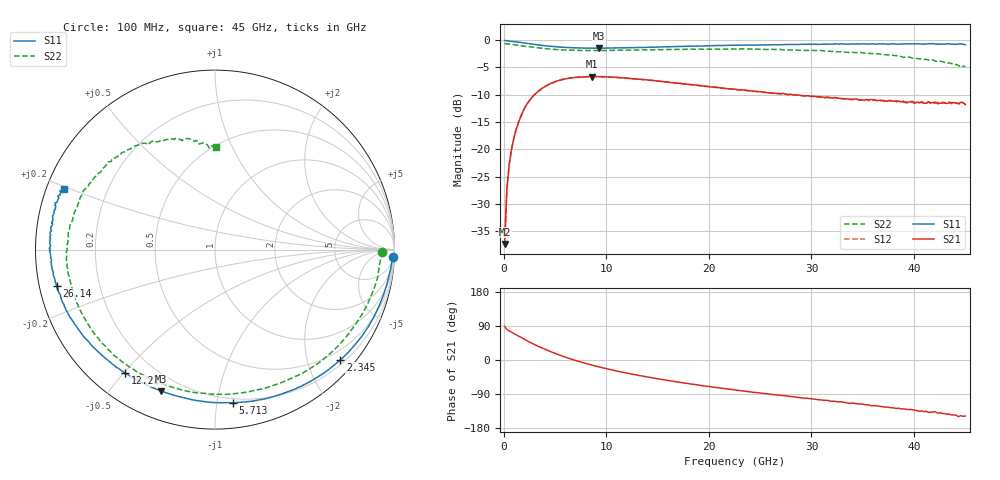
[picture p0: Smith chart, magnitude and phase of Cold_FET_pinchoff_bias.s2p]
!Date: 10/28/2005, 12:30 PM
!Vgs = -8.000000E+0
!Vds = 0.000000E+0
!Ig = -7.328100E-5
!Id = 1.526200E-5
# HZ S RI R 50
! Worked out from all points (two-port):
!   201 points, 100 MHz to 45 GHz, reference 50 ohm
!   highest |S21| = -6.67 dB at 8.631 GHz (marker M1); lowest = -37.3 dB at 100 MHz (marker M2)
!   |S21| within 3 dB of the highest: 3.199 GHz to 25.91 GHz (22.71 GHz wide, 156 % of centre)
!   lowest |S11| = -1.5 dB at 9.305 GHz (marker M3), VSWR 11.69, Z = 6.29 - j34.1 ohm
!   |S11| at or under -10 dB: nowhere
!   |S22| runs from -5.0 to -0.6 dB; largest |S21 - S12| = 0.028
!   S11 on the Smith chart (normalised r, x): 100 MHz: 11, -49; 2.345 GHz: 0.28, -2.62; 5.713 GHz: 0.17, -1.11; 12.22 GHz: 0.10, -0.50; 26.14 GHz: 0.05, -0.11; 45 GHz: 0.05, +0.19
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1e8  0.9907 -0.0385  0.000301 0.0137  0.00102 0.013  0.9317 -0.0113
3.245e8  0.9774 -0.1117  0.00748 0.0432  0.0077 0.0437  0.915 -0.0925
5.49e8  0.961 -0.1813  0.0163 0.0706  0.0168 0.0714  0.9073 -0.1529
7.735e8  0.9404 -0.2485  0.0287 0.0959  0.0289 0.096  0.8885 -0.2114
9.98e8  0.916 -0.3107  0.0435 0.1185  0.0438 0.1187  0.8674 -0.2633
1.447e9  0.8549 -0.4288  0.0796 0.1568  0.0788 0.1566  0.8168 -0.3646
2.345e9  0.6988 -0.6149  0.1707 0.203  0.1709 0.2032  0.6951 -0.5273
3.9165e9  0.3988 -0.7945  0.3216 0.1821  0.3215 0.1824  0.4453 -0.7081
5.7125e9  0.1008 -0.8537  0.4278 0.0785  0.4281 0.0793  0.1795 -0.7935
7.733e9  -0.1505 -0.8311  0.4569 -0.0556  0.4575 -0.0556  -0.0763 -0.7993
8.631e9  -0.2408 -0.8079  0.4509 -0.1095  0.45 -0.1092  -0.1767 -0.7845
9.3045e9  -0.2993 -0.7874  0.4391 -0.145  0.4392 -0.1449  -0.2427 -0.7652
1.2223e10  -0.5008 -0.6869  0.3624 -0.2612  0.3618 -0.2605  -0.4803 -0.6519
1.51415e10  -0.6388 -0.5807  0.2704 -0.3225  0.2691 -0.3226  -0.6427 -0.5048
1.8509e10  -0.7498 -0.4595  0.1702 -0.3513  0.1692 -0.3486  -0.76 -0.3209
2.255e10  -0.8386 -0.3178  0.0685 -0.3488  0.068 -0.3456  -0.8223 -0.1033
2.6142e10  -0.881 -0.2012  -0.00333 -0.3259  -0.00121 -0.3271  -0.8176 0.0923
3.0183e10  -0.9122 -0.0761  -0.0686 -0.2981  -0.0692 -0.297  -0.7489 0.2946
3.39995e10  -0.9205 0.0411  -0.1151 -0.2618  -0.1176 -0.2606  -0.6311 0.447
3.75915e10  -0.9047 0.1422  -0.1616 -0.2297  -0.1589 -0.227  -0.4593 0.569
4.1857e10  -0.8917 0.2591  -0.1949 -0.1838  -0.1955 -0.1768  -0.2164 0.62
4.5e10  -0.8417 0.3368  -0.2173 -0.1367  -0.216 -0.1417  0.00735 0.5704
